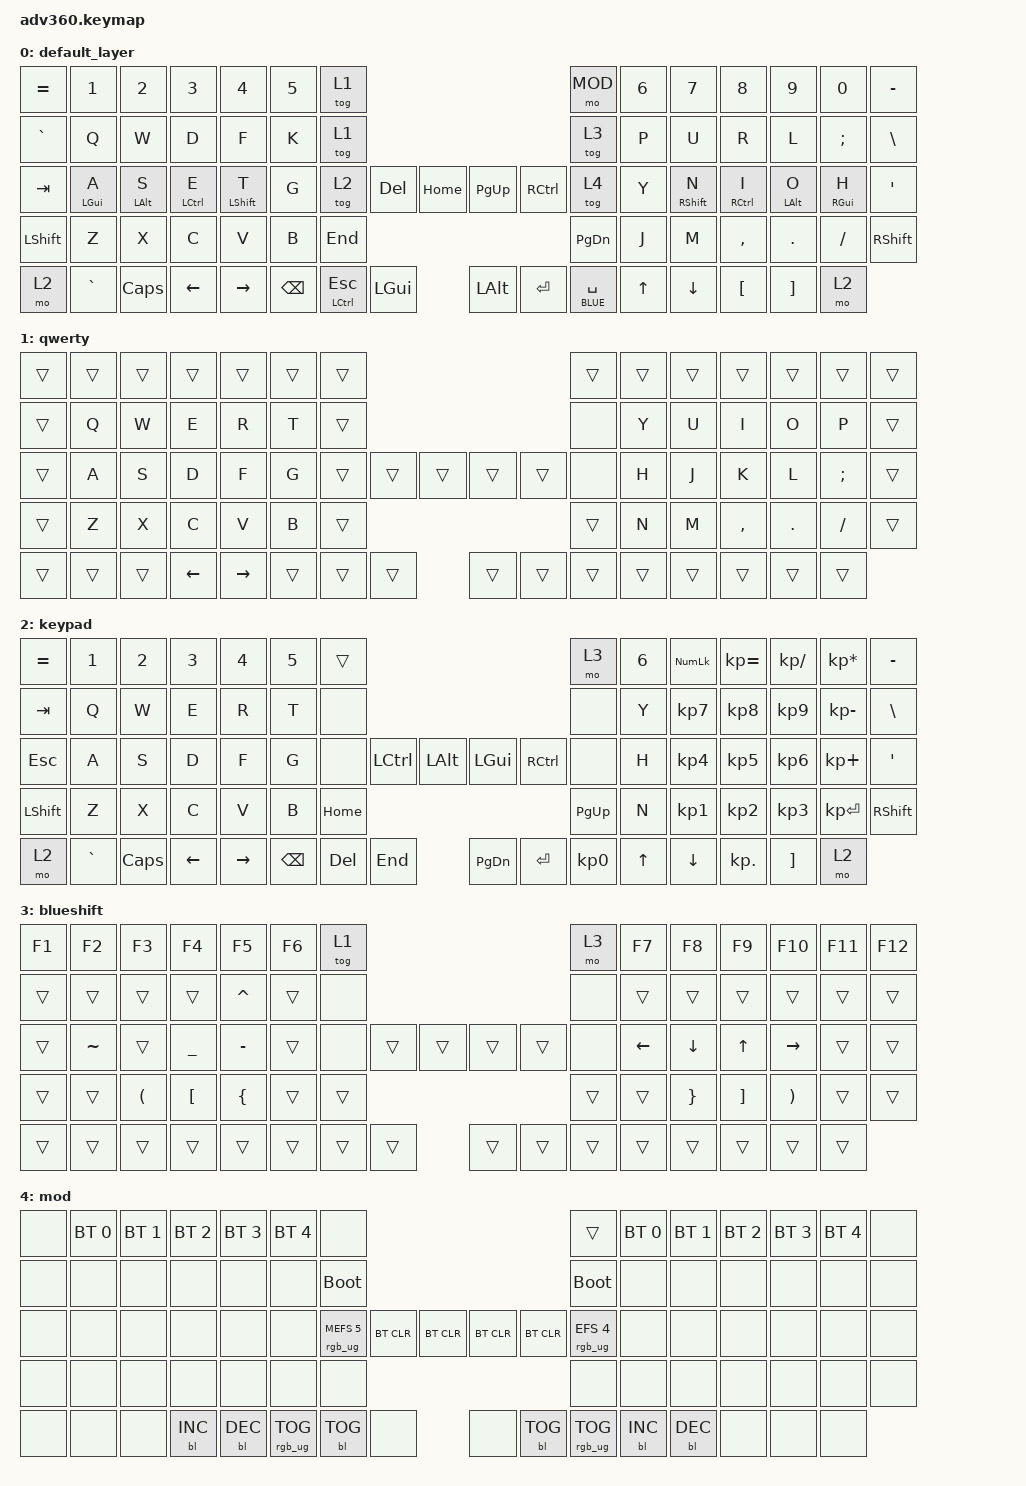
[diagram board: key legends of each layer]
#include <behaviors.dtsi>
#include <dt-bindings/zmk/keys.h>
#include <dt-bindings/zmk/bt.h>
#include <dt-bindings/zmk/rgb.h>
#include <dt-bindings/zmk/backlight.h>

#define DEFAULT 0
#define QWERTY 1
#define KEYPAD 2
#define BLUE 3
#define MOD 4

/ {
    behaviors {
      #include "macros.dtsi"

      hm: homerow_mods {
          compatible = "zmk,behavior-hold-tap";
          label = "HOMEROW_MODS";
          #binding-cells = <2>;
          tapping-term-ms = <200>;
          quick_tap_ms = <175>;
          flavor = "tap-preferred";
          bindings = <&kp>, <&kp>;
      };
    };

  keymap {
    compatible = "zmk,keymap";

    default_layer {
      bindings = <
        &kp EQUAL &kp N1    &kp N2    &kp N3      &kp N4      &kp N5 &tog 1                                                                 &mo MOD &kp N6 &kp N7      &kp N8      &kp N9     &kp N0     &kp MINUS
        &kp GRAVE &kp Q     &kp W     &kp D       &kp F       &kp K  &tog 1                                                                 &tog 3  &kp P  &kp U       &kp R       &kp L      &kp SEMI   &kp BSLH
        &kp TAB &hm LGUI A &hm LALT S &hm LCTRL E &hm LSHFT T &kp G  &tog 2          &kp DEL       &kp HOME   &kp PG_UP &kp RCTRL           &tog 4  &kp Y  &hm RSHFT N &hm RCTRL I &hm LALT O &hm RGUI H &kp SQT
        &kp LSHFT &kp Z     &kp X     &kp C       &kp V       &kp B                                &kp END    &kp PG_DN                             &kp J  &kp M       &kp COMMA   &kp DOT    &kp FSLH   &kp RSHFT
        &mo 2     &kp GRAVE &kp CAPS  &kp LEFT    &kp RIGHT                 &kp BSPC &mt LCTRL ESC &kp LGUI   &kp LALT  &kp ENTER &lt BLUE SPACE    &kp UP &kp DOWN    &kp LBKT    &kp RBKT   &mo 2
      >;
    };
    qwerty {
      bindings = <
        &trans   &trans    &trans   &trans   &trans     &trans &trans                                                     &trans &trans &trans &trans    &trans   &trans   &trans
        &trans   &kp Q     &kp W    &kp E    &kp R      &kp T  &trans                                                     &none  &kp Y  &kp U  &kp I     &kp O    &kp P    &trans
        &trans   &kp A     &kp S    &kp D    &kp F      &kp G  &trans          &trans &trans  &trans  &trans              &none  &kp H  &kp J  &kp K     &kp L    &kp SEMI &trans
        &trans   &kp Z     &kp X    &kp C    &kp V      &kp B                         &trans  &trans                             &kp N  &kp M  &kp COMMA &kp DOT  &kp FSLH &trans
        &trans   &trans    &trans   &kp LEFT &kp RIGHT                &trans   &trans &trans  &trans  &trans    &trans                  &trans &trans    &trans   &trans   &trans
      >;
    };
    keypad {
      bindings = <
        &kp EQUAL &kp N1    &kp N2   &kp N3   &kp N4     &kp N5 &trans                                                            &mo 3 &kp N6 &kp KP_NUM &kp KP_EQUAL &kp KP_DIVIDE &kp KP_MULTIPLY &kp MINUS
        &kp TAB   &kp Q     &kp W    &kp E    &kp R      &kp T  &none                                                             &none &kp Y  &kp KP_N7  &kp KP_N8    &kp KP_N9     &kp KP_MINUS    &kp BSLH
        &kp ESC   &kp A     &kp S    &kp D    &kp F      &kp G  &none           &kp LCTRL &kp LALT  &kp LGUI  &kp RCTRL           &none &kp H  &kp KP_N4  &kp KP_N5    &kp KP_N6     &kp KP_PLUS     &kp SQT
        &kp LSHFT &kp Z     &kp X    &kp C    &kp V      &kp B                            &kp HOME  &kp PG_UP                           &kp N  &kp KP_N1  &kp KP_N2    &kp KP_N3     &kp KP_ENTER    &kp RSHFT
        &mo 2     &kp GRAVE &kp CAPS &kp LEFT &kp RIGHT                &kp BSPC &kp DEL   &kp END   &kp PG_DN &kp ENTER &kp KP_N0              &kp UP     &kp DOWN     &kp KP_DOT    &kp RBKT        &mo 2
      >;
    };
    blueshift {
      bindings = <
        &kp F1 &kp F2    &kp F3   &kp F4    &kp F5    &kp F6 &tog 1                                                       &mo 3 &kp F7   &kp F8   &kp F9   &kp F10   &kp F11 &kp F12
        &trans &trans    &trans   &trans    &kp CARET &trans &none                                                        &none &trans   &trans   &trans   &trans    &trans  &trans
        &trans &kp TILDE &trans   &kp UNDER &kp MINUS &trans &none         &trans &trans  &trans &trans        &none &kp LEFT &kp DOWN &kp UP   &kp RIGHT &trans  &trans
        &trans &trans    &kp LPAR &kp LBKT  &kp LBRC  &trans                      &trans  &trans                     &trans   &kp RBRC &kp RBKT &kp RPAR  &trans  &trans
        &trans &trans    &trans   &trans    &trans                  &trans &trans &trans  &trans &trans &trans                &trans   &trans   &trans    &trans  &trans
      >;
    };
    mod {
      bindings = <
        &none &bt BT_SEL 0 &bt BT_SEL 1 &bt BT_SEL 2 &bt BT_SEL 3 &bt BT_SEL 4 &none                                                                                               &trans                &bt BT_SEL 0 &bt BT_SEL 1 &bt BT_SEL 2 &bt BT_SEL 3 &bt BT_SEL 4 &none
        &none &none        &none        &none        &none        &none        &bootloader                                                                                         &bootloader           &none        &none        &none        &none        &none        &none
        &none &none        &none        &none        &none        &none        &rgb_ug RGB_MEFS_CMD 5                 &bt BT_CLR &bt BT_CLR  &bt BT_CLR &bt BT_CLR                 &rgb_ug RGB_EFS_CMD 4 &none        &none        &none        &none        &none        &none
        &none &none        &none        &none        &none        &none                                                          &none       &none                                                       &none        &none        &none        &none        &none        &none
        &none &none        &none        &bl BL_INC   &bl BL_DEC                                       &rgb_ug RGB_TOG &bl BL_TOG &none       &none      &bl BL_TOG &rgb_ug RGB_TOG                                    &bl BL_INC   &bl BL_DEC   &none        &none        &none
      >;
    };
  };
};
